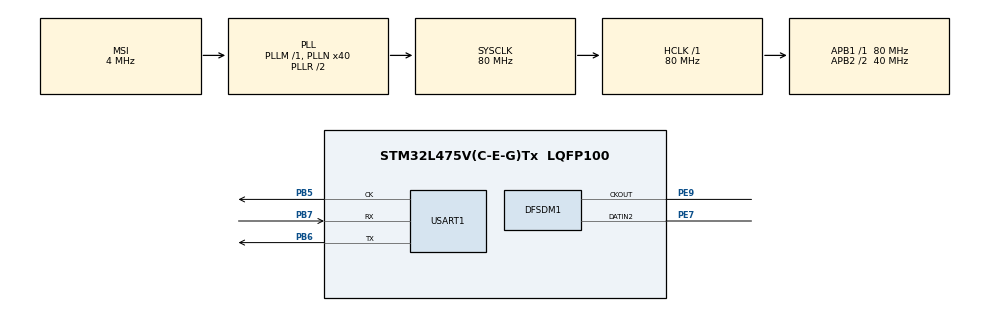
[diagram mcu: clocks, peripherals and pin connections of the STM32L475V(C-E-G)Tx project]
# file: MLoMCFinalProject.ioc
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Mcu.Family=STM32L4
RCC.MSI_VALUE=4000000
PA14\ (JTCK-SWCLK).Mode=Trace_Asynchronous_SW
RCC.CortexFreq_Value=80000000
Dma.DFSDM1_FLT0.0.PeriphInc=DMA_PINC_DISABLE
USART1.VirtualMode-Synchronous=VM_SYNC
Dma.DFSDM1_FLT0.0.MemInc=DMA_MINC_ENABLE
Dma.DFSDM1_FLT0.0.Priority=DMA_PRIORITY_MEDIUM
SH.S_DATAIN2DFSDM1.0=DFSDM1_DATIN2,PDM_SPI_input_from_ch2_and_internal_clock
Dma.DFSDM1_FLT0.0.Mode=DMA_CIRCULAR
DFSDM1.Filter_injChannel2_FIL0=__NULL
Dma.DFSDM1_FLT0.0.MemDataAlignment=DMA_MDATAALIGN_WORD
RCC.SYSCLKSource=RCC_SYSCLKSOURCE_PLLCLK
ProjectManager.StackSize=0x4000
PB3\ (JTDO-TRACESWO).Signal=SYS_JTDO-SWO
PA14\ (JTCK-SWCLK).Signal=SYS_JTCK-SWCLK
VP_ARM.CMSIS_VS_CMSISJjDSP_1.8.0_5.7.0.Mode=CMSISJjDSP
DFSDM1.Selection=DFSDM_CHANNEL_OUTPUT_CLOCK_AUDIO
Dma.DFSDM1_FLT0.0.PeriphDataAlignment=DMA_PDATAALIGN_WORD
ProjectManager.TargetToolchain=STM32CubeIDE
ARM.CMSIS.5.7.0.CMSISJjDSP=Library
RCC.HCLKFreq_Value=80000000
RCC.APB2TimFreq_Value=80000000
PB6.Signal=USART1_TX
PB6.Mode=Synchronous
RCC.USBFreq_Value=32000000
ARM.CMSIS.5.7.0.CMSISJjCORE=true
VP_ARM.CMSIS_VS_CMSISJjCORE_5.4.0_5.7.0.Mode=CMSISJjCORE
RCC.LSE_VALUE=32768
RCC.AHBFreq_Value=80000000
DFSDM1.Iosr_FIL0=1
RCC.HSE_VALUE=8000000
Dma.DFSDM1_FLT0.0.Direction=DMA_PERIPH_TO_MEMORY
board=B-L475E-IOT01A
RCC.VCOOutputFreq_Value=160000000
DFSDM1.FastMode_reg_FIL0=ENABLE
NVIC.DFSDM1_FLT0_IRQn=true\:0\:0\:false\:false\:true\:true\:true
RCC.APB2Freq_Value=40000000
Dma.DFSDM1_FLT0.0.Instance=DMA1_Channel4
PE9.Signal=S_CKOUTDFSDM1
PB3\ (JTDO-TRACESWO).Mode=Trace_Asynchronous_SW
SH.S_CKOUTDFSDM1.0=DFSDM1_CKOUT,CKOUT
SH.S_CKOUTDFSDM1.1=DFSDM1_CKOUT,PDM_SPI_input_from_ch2_and_internal_clock
PB5.Mode=Synchronous
RCC.ADCFreq_Value=32000000
PB7.Signal=USART1_RX
DFSDM1.Fosr_FIL0=64
DFSDM1.RightBitShift_CH2=0x03
Mcu.Name=STM32L475V(C-E-G)Tx
PA13\ (JTMS-SWDIO).Mode=Trace_Asynchronous_SW
RCC.SYSCLKFreq_VALUE=80000000
Mcu.Package=LQFP100
PB5.Signal=USART1_CK
RCC.USART1CLockSelection=RCC_USART1CLKSOURCE_SYSCLK
PB7.Mode=Synchronous
ProjectManager.HeapSize=0x2000
RCC.HSI_VALUE=16000000
NVIC.PriorityGroup=NVIC_PRIORITYGROUP_4
DFSDM1.DmaMode_reg_FIL0=ENABLE
RCC.APB2CLKDivider=RCC_HCLK_DIV2
RCC.PLLN=40
RCC.APB1TimFreq_Value=80000000
DFSDM1.Divider=15
NVIC.DMA1_Channel4_IRQn=true\:0\:0\:false\:false\:true\:false\:true
PE7.Signal=S_DATAIN2DFSDM1
PA13\ (JTMS-SWDIO).Signal=SYS_JTMS-SWDIO
DFSDM1.Filter_regChannel_FIL0=DFSDM_CHANNEL_2
Dma.Request0=DFSDM1_FLT0
RCC.APB1Freq_Value=80000000
DFSDM1.SincOrder_FIL0=DFSDM_FILTER_SINC3_ORDER
RCC.PLLSAI1N=16

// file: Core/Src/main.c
/* USER CODE BEGIN Header */
/**
  ******************************************************************************
  * @file           : main.c
  * @brief          : Main program body
  ******************************************************************************
  * @attention
  *
  * <h2><center>&copy; Copyright (c) 2019 STMicroelectronics.
  * All rights reserved.</center></h2>
  *
  * This software component is licensed by ST under BSD 3-Clause license,
  * the "License"; You may not use this file except in compliance with the
  * License. You may obtain a copy of the License at:
  *                        opensource.org/licenses/BSD-3-Clause
  *
  ******************************************************************************
  */
/* USER CODE END Header */
#include "main.h"

/* USER CODE BEGIN Includes */
#include <stdio.h>
#include <stdlib.h>
#include <stdbool.h>
#include <CycleCounter.h>
#include <arm_math.h>
#include "MFCC01.h"
#include "linear_to_mel_weight_list.h"
#include "ben_dct2_f32.h"
#include "ring_buffer.h"

#define ARM_MATH_CM4
#define ARM_MATH_DSP
#define CMSIS_NN
#define TF_LITE_USE_GLOBAL_CMATH_FUNCTIONS
#define TF_LITE_USE_GLOBAL_MAX
#define TF_LITE_USE_GLOBAL_MIN

#define QUEUELENGTH 2048
#define SYSCLK 80000000
#define SAMPLINGRATE 9524
#define N_MFCCS 13
/* USER CODE END Includes */

DFSDM_Filter_HandleTypeDef hdfsdm1_filter0;
DFSDM_Channel_HandleTypeDef hdfsdm1_channel2;
DMA_HandleTypeDef hdma_dfsdm1_flt0;

USART_HandleTypeDef husart1;

void SystemClock_Config(void);
static void MX_GPIO_Init(void);
static void MX_DMA_Init(void);
static void MX_DFSDM1_Init(void);
static void MX_USART1_Init(void);

/* USER CODE BEGIN 0 */

volatile bool firstHalfFull = false;
volatile bool secondHalfFull = false;

int32_t RecBuff[QUEUELENGTH];
int16_t amplitude;

#ifdef __GNUC__
/* With GCC/RAISONANCE, small msg_info (option LD Linker->Libraries->Small msg_info
   set to 'Yes') calls __io_putchar() */
#define PUTCHAR_PROTOTYPE int __io_putchar(int ch)
#define GETCHAR_PROTOTYPE int __io_getchar(void)
#else
#define PUTCHAR_PROTOTYPE int fputc(int ch, FILE *f)
#define GETCHAR_PROTOTYPE int fgetc(FILE *f)
#endif /* __GNUC__ */

PUTCHAR_PROTOTYPE
{
  /* Place your implementation of fputc here */
  /* e.g. write a character to the serial port and Loop until the end of transmission */
  while (HAL_OK != HAL_USART_Transmit(&husart1, (uint8_t *) &ch, 1, 30000))
  {
    ;
  }
  return ch;
}

/**
  * @brief Retargets the C library scanf function to the USART.
  * @param None
  * @retval None
  */
GETCHAR_PROTOTYPE
{
  /* Place your implementation of fgetc here */
  /* e.g. readwrite a character to the USART2 and Loop until the end of transmission */
  uint8_t ch = 0;
  while (HAL_OK != HAL_USART_Receive(&husart1, (uint8_t *)&ch, 1, 30000))
  {
    ;
  }
  return ch;
}

void HAL_DFSDM_FilterRegConvCpltCallback(DFSDM_Filter_HandleTypeDef *hdfsdm_filter)
{
	firstHalfFull = true;
}

void HAL_DFSDM_FilterRegConvHalfCpltCallback(DFSDM_Filter_HandleTypeDef *hdfsdm_filter)
{
	secondHalfFull = true;
}

/* USER CODE END 0 */

int main(void)
{

  /* MCU Configuration--------------------------------------------------------*/

  /* Reset of all peripherals, Initializes the Flash interface and the Systick. */
  HAL_Init();

  /* Configure the system clock */
  SystemClock_Config();

  /* Initialize all configured peripherals */
  MX_GPIO_Init();
  MX_DMA_Init();
  MX_DFSDM1_Init();
  MX_USART1_Init();
  /* USER CODE BEGIN 2 */
	if(HAL_OK != HAL_DFSDM_FilterRegularStart_DMA(&hdfsdm1_filter0, RecBuff, QUEUELENGTH)){
    Error_Handler();
  }
  /* USER CODE END 2 */

  /* Infinite loop */
  /* USER CODE BEGIN WHILE */

	// Parameters
	const int sr = SAMPLINGRATE;
	const int fl = QUEUELENGTH / 2; // frame length
	const int n_mb = 64; // mel bins
	const int n_mfccs = N_MFCCS;

	// Buffer
	float32_t buffer1[fl];
	float32_t buffer2[fl];
	struct RingBuffer rb;
	// Output
	float32_t mfccs[N_MFCCS];
	// Other Objects
	arm_rfft_fast_instance_f32 rfft_struct_v1;
	arm_rfft_fast_instance_f32 rfft_struct_v2;

	// Initialize Objects
	init_ring_buffer(&rb);
	arm_status status_v1 = arm_rfft_fast_init_f32(&rfft_struct_v1, fl);
	arm_status status_v2 = arm_rfft_fast_init_f32(&rfft_struct_v2, n_mb);

	// Debug
	bool flag = true;

  while (1)
  {
    /* USER CODE END WHILE */

    /* USER CODE BEGIN 3 */

		if(firstHalfFull && flag){
			for(int i=0;i<QUEUELENGTH/2;i++){
				buffer1[i] = (float32_t)(RecBuff[i]>>8);
				//printf("%f\r\n", buffer1[i]);
			}

			arm_rfft_fast_f32(&rfft_struct_v1, buffer1, buffer2, 0);
			arm_cmplx_mag_f32(buffer2, buffer1, fl / 2);
			calc_log_mel_spectrogram(buffer1, buffer2);
			ben_dct2_f32(buffer2, buffer1,  mfccs, &rfft_struct_v2);
			insert_data(&rb, mfccs);

			firstHalfFull = false;
			//flag = false;
		}
		if(secondHalfFull){
			for(int i=QUEUELENGTH/2;i<QUEUELENGTH;i++){
				buffer1[i - QUEUELENGTH/2] = (float32_t)(RecBuff[i]>>8);
				//printf("%f\r\n", buffer1[i - QUEUELENGTH/2]);
			}

			arm_rfft_fast_f32(&rfft_struct_v1, buffer1, buffer2, 0);
			arm_cmplx_mag_f32(buffer2, buffer1, fl / 2);
			calc_log_mel_spectrogram(buffer1, buffer2);
			ben_dct2_f32(buffer2, buffer1,  mfccs, &rfft_struct_v2);
			insert_data(&rb, mfccs);

			secondHalfFull = false;
		}

	}

  /* USER CODE END 3 */
}

void SystemClock_Config(void)
{
  RCC_OscInitTypeDef RCC_OscInitStruct = {0};
  RCC_ClkInitTypeDef RCC_ClkInitStruct = {0};
  RCC_PeriphCLKInitTypeDef PeriphClkInit = {0};

  /** Initializes the RCC Oscillators according to the specified parameters
  * in the RCC_OscInitTypeDef structure.
  */
  RCC_OscInitStruct.OscillatorType = RCC_OSCILLATORTYPE_MSI;
  RCC_OscInitStruct.MSIState = RCC_MSI_ON;
  RCC_OscInitStruct.MSICalibrationValue = 0;
  RCC_OscInitStruct.MSIClockRange = RCC_MSIRANGE_6;
  RCC_OscInitStruct.PLL.PLLState = RCC_PLL_ON;
  RCC_OscInitStruct.PLL.PLLSource = RCC_PLLSOURCE_MSI;
  RCC_OscInitStruct.PLL.PLLM = 1;
  RCC_OscInitStruct.PLL.PLLN = 40;
  RCC_OscInitStruct.PLL.PLLP = RCC_PLLP_DIV7;
  RCC_OscInitStruct.PLL.PLLQ = RCC_PLLQ_DIV2;
  RCC_OscInitStruct.PLL.PLLR = RCC_PLLR_DIV2;
  if (HAL_RCC_OscConfig(&RCC_OscInitStruct) != HAL_OK)
  {
    Error_Handler();
  }
  /** Initializes the CPU, AHB and APB buses clocks
  */
  RCC_ClkInitStruct.ClockType = RCC_CLOCKTYPE_HCLK|RCC_CLOCKTYPE_SYSCLK
                              |RCC_CLOCKTYPE_PCLK1|RCC_CLOCKTYPE_PCLK2;
  RCC_ClkInitStruct.SYSCLKSource = RCC_SYSCLKSOURCE_PLLCLK;
  RCC_ClkInitStruct.AHBCLKDivider = RCC_SYSCLK_DIV1;
  RCC_ClkInitStruct.APB1CLKDivider = RCC_HCLK_DIV1;
  RCC_ClkInitStruct.APB2CLKDivider = RCC_HCLK_DIV2;

  if (HAL_RCC_ClockConfig(&RCC_ClkInitStruct, FLASH_LATENCY_4) != HAL_OK)
  {
    Error_Handler();
  }
  PeriphClkInit.PeriphClockSelection = RCC_PERIPHCLK_USART1|RCC_PERIPHCLK_SAI1
                              |RCC_PERIPHCLK_DFSDM1;
  PeriphClkInit.Usart1ClockSelection = RCC_USART1CLKSOURCE_SYSCLK;
  PeriphClkInit.Sai1ClockSelection = RCC_SAI1CLKSOURCE_PLLSAI1;
  PeriphClkInit.Dfsdm1ClockSelection = RCC_DFSDM1CLKSOURCE_PCLK;
  PeriphClkInit.PLLSAI1.PLLSAI1Source = RCC_PLLSOURCE_MSI;
  PeriphClkInit.PLLSAI1.PLLSAI1M = 1;
  PeriphClkInit.PLLSAI1.PLLSAI1N = 16;
  PeriphClkInit.PLLSAI1.PLLSAI1P = RCC_PLLP_DIV7;
  PeriphClkInit.PLLSAI1.PLLSAI1Q = RCC_PLLQ_DIV2;
  PeriphClkInit.PLLSAI1.PLLSAI1R = RCC_PLLR_DIV2;
  PeriphClkInit.PLLSAI1.PLLSAI1ClockOut = RCC_PLLSAI1_SAI1CLK;
  if (HAL_RCCEx_PeriphCLKConfig(&PeriphClkInit) != HAL_OK)
  {
    Error_Handler();
  }
  /** Configure the main internal regulator output voltage
  */
  if (HAL_PWREx_ControlVoltageScaling(PWR_REGULATOR_VOLTAGE_SCALE1) != HAL_OK)
  {
    Error_Handler();
  }
}

static void MX_DFSDM1_Init(void)
{

  hdfsdm1_filter0.Instance = DFSDM1_Filter0;
  hdfsdm1_filter0.Init.RegularParam.Trigger = DFSDM_FILTER_SW_TRIGGER;
  hdfsdm1_filter0.Init.RegularParam.FastMode = ENABLE;
  hdfsdm1_filter0.Init.RegularParam.DmaMode = ENABLE;
  hdfsdm1_filter0.Init.FilterParam.SincOrder = DFSDM_FILTER_SINC3_ORDER;
  hdfsdm1_filter0.Init.FilterParam.Oversampling = 64;
  hdfsdm1_filter0.Init.FilterParam.IntOversampling = 1;
  if (HAL_DFSDM_FilterInit(&hdfsdm1_filter0) != HAL_OK)
  {
    Error_Handler();
  }
  hdfsdm1_channel2.Instance = DFSDM1_Channel2;
  hdfsdm1_channel2.Init.OutputClock.Activation = ENABLE;
  hdfsdm1_channel2.Init.OutputClock.Selection = DFSDM_CHANNEL_OUTPUT_CLOCK_AUDIO;
  hdfsdm1_channel2.Init.OutputClock.Divider = 15;
  hdfsdm1_channel2.Init.Input.Multiplexer = DFSDM_CHANNEL_EXTERNAL_INPUTS;
  hdfsdm1_channel2.Init.Input.DataPacking = DFSDM_CHANNEL_STANDARD_MODE;
  hdfsdm1_channel2.Init.Input.Pins = DFSDM_CHANNEL_SAME_CHANNEL_PINS;
  hdfsdm1_channel2.Init.SerialInterface.Type = DFSDM_CHANNEL_SPI_RISING;
  hdfsdm1_channel2.Init.SerialInterface.SpiClock = DFSDM_CHANNEL_SPI_CLOCK_INTERNAL;
  hdfsdm1_channel2.Init.Awd.FilterOrder = DFSDM_CHANNEL_FASTSINC_ORDER;
  hdfsdm1_channel2.Init.Awd.Oversampling = 1;
  hdfsdm1_channel2.Init.Offset = 0;
  hdfsdm1_channel2.Init.RightBitShift = 0x03;
  if (HAL_DFSDM_ChannelInit(&hdfsdm1_channel2) != HAL_OK)
  {
    Error_Handler();
  }
  if (HAL_DFSDM_FilterConfigRegChannel(&hdfsdm1_filter0, DFSDM_CHANNEL_2, DFSDM_CONTINUOUS_CONV_ON) != HAL_OK)
  {
    Error_Handler();
  }

}

static void MX_USART1_Init(void)
{

  husart1.Instance = USART1;
  husart1.Init.BaudRate = 115200;
  husart1.Init.WordLength = USART_WORDLENGTH_8B;
  husart1.Init.StopBits = USART_STOPBITS_1;
  husart1.Init.Parity = USART_PARITY_NONE;
  husart1.Init.Mode = USART_MODE_TX_RX;
  husart1.Init.CLKPolarity = USART_POLARITY_LOW;
  husart1.Init.CLKPhase = USART_PHASE_1EDGE;
  husart1.Init.CLKLastBit = USART_LASTBIT_DISABLE;
  if (HAL_USART_Init(&husart1) != HAL_OK)
  {
    Error_Handler();
  }

}

static void MX_DMA_Init(void)
{

  /* DMA controller clock enable */
  __HAL_RCC_DMA1_CLK_ENABLE();

  /* DMA interrupt init */
  /* DMA1_Channel4_IRQn interrupt configuration */
  HAL_NVIC_SetPriority(DMA1_Channel4_IRQn, 0, 0);
  HAL_NVIC_EnableIRQ(DMA1_Channel4_IRQn);

}

static void MX_GPIO_Init(void)
{

  /* GPIO Ports Clock Enable */
  __HAL_RCC_GPIOE_CLK_ENABLE();
  __HAL_RCC_GPIOA_CLK_ENABLE();
  __HAL_RCC_GPIOB_CLK_ENABLE();

}

void Error_Handler(void)
{
}

/************************ (C) COPYRIGHT STMicroelectronics *****END OF FILE****/
